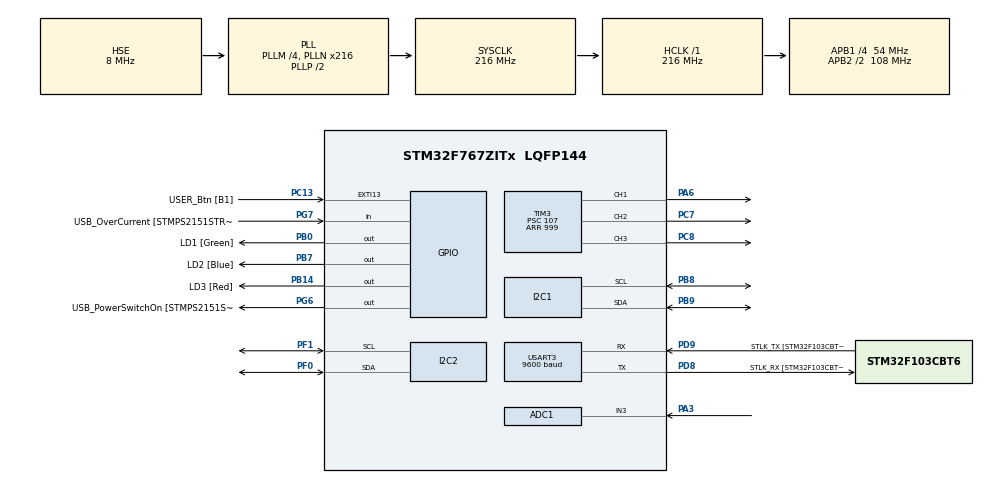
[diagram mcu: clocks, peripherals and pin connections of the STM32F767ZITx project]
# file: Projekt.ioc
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ADC1.Channel-0\#ChannelRegularConversion=ADC_CHANNEL_3
ADC1.ContinuousConvMode=DISABLE
ADC1.DMAContinuousRequests=DISABLE
ADC1.EOCSelection=ADC_EOC_SINGLE_CONV
ADC1.NbrOfConversion=1
ADC1.NbrOfConversionFlag=1
ADC1.Rank-0\#ChannelRegularConversion=1
ADC1.SamplingTime-0\#ChannelRegularConversion=ADC_SAMPLETIME_480CYCLES
ADC1.ScanConvMode=ADC_SCAN_DISABLE
ADC1.master=1
ARM.CMSIS.5.7.0.CMSISJjCORE=true
ARM.CMSIS.5.7.0.CMSISJjDSP=Library
I2C1.Timing=0x20404768
I2C2.Timing=0x20404768
Mcu.Family=STM32F7
Mcu.Name=STM32F767ZITx
Mcu.Package=LQFP144
NVIC.ADC_IRQn=true\:0\:0\:false\:false\:true\:true\:true
NVIC.EXTI15_10_IRQn=true\:0\:0\:false\:false\:true\:true\:true
NVIC.I2C1_ER_IRQn=true\:0\:0\:false\:false\:true\:true\:true
NVIC.I2C1_EV_IRQn=true\:0\:0\:false\:false\:true\:true\:true
NVIC.PriorityGroup=NVIC_PRIORITYGROUP_4
NVIC.TIM2_IRQn=true\:0\:0\:false\:false\:true\:true\:true
NVIC.TIM3_IRQn=true\:0\:0\:false\:false\:true\:true\:true
NVIC.USART3_IRQn=true\:0\:0\:false\:false\:true\:true\:true
PA1.GPIO_Label=RMII_REF_CLK [LAN8742A-CZ-TR_REFCLK0]
PA1.Signal=ETH_REF_CLK
PA10.GPIO_Label=USB_ID
PA10.Signal=USB_OTG_FS_ID
PA11.GPIO_Label=USB_DM
PA11.Signal=USB_OTG_FS_DM
PA12.GPIO_Label=USB_DP
PA12.Signal=USB_OTG_FS_DP
PA13.GPIO_Label=TMS
PA13.Mode=Serial_Wire
PA13.Signal=SYS_JTMS-SWDIO
PA14.GPIO_Label=TCK
PA14.Mode=Serial_Wire
PA14.Signal=SYS_JTCK-SWCLK
PA2.GPIO_Label=RMII_MDIO [LAN8742A-CZ-TR_MDIO]
PA2.Signal=ETH_MDIO
PA3.Signal=ADCx_IN3
PA6.Signal=S_TIM3_CH1
PA7.GPIO_Label=RMII_CRS_DV [LAN8742A-CZ-TR_CRS_DV]
PA7.Signal=ETH_CRS_DV
PA8.GPIO_Label=USB_SOF [TP1]
PA8.Signal=USB_OTG_FS_SOF
PA9.GPIO_Label=USB_VBUS
PA9.Signal=USB_OTG_FS_VBUS
PB0.GPIO_Label=LD1 [Green]
PB0.Signal=GPIO_Output
PB13.GPIO_Label=RMII_TXD1 [LAN8742A-CZ-TR_TXD1]
PB13.Signal=ETH_TXD1
PB14.GPIO_Label=LD3 [Red]
PB14.Signal=GPIO_Output
PB3.GPIO_Label=SWO
PB3.Signal=SYS_JTDO-SWO
PB7.GPIO_Label=LD2 [Blue]
PB7.Signal=GPIO_Output
PB8.Mode=I2C
PB8.Signal=I2C1_SCL
PB9.Mode=I2C
PB9.Signal=I2C1_SDA
PC1.GPIO_Label=RMII_MDC [LAN8742A-CZ-TR_MDC]
PC1.Signal=ETH_MDC
PC13.GPIO_Label=USER_Btn [B1]
PC13.Signal=GPXTI13
PC14/OSC32_IN.Mode=LSE-External-Oscillator
PC14/OSC32_IN.Signal=RCC_OSC32_IN
PC15/OSC32_OUT.Mode=LSE-External-Oscillator
PC15/OSC32_OUT.Signal=RCC_OSC32_OUT
PC4.GPIO_Label=RMII_RXD0 [LAN8742A-CZ-TR_RXD0]
PC4.Signal=ETH_RXD0
PC5.GPIO_Label=RMII_RXD1 [LAN8742A-CZ-TR_RXD1]
PC5.Signal=ETH_RXD1
PC7.Signal=S_TIM3_CH2
PC8.Signal=S_TIM3_CH3
PD8.GPIO_Label=STLK_RX [STM32F103CBT6_PA3]
PD8.Mode=Asynchronous
PD8.Signal=USART3_TX
PD9.GPIO_Label=STLK_TX [STM32F103CBT6_PA2]
PD9.Mode=Asynchronous
PD9.Signal=USART3_RX
PF0.Mode=I2C
PF0.Signal=I2C2_SDA
PF1.Mode=I2C
PF1.Signal=I2C2_SCL
PG11.GPIO_Label=RMII_TX_EN [LAN8742A-CZ-TR_TXEN]
PG11.Signal=ETH_TX_EN
PG13.GPIO_Label=RMII_TXD0 [LAN8742A-CZ-TR_TXD0]
PG13.Signal=ETH_TXD0
PG6.GPIO_Label=USB_PowerSwitchOn [STMPS2151STR_EN]
PG6.Signal=GPIO_Output
PG7.GPIO_Label=USB_OverCurrent [STMPS2151STR_FAULT]
PG7.Signal=GPIO_Input
PH0/OSC_IN.GPIO_Label=MCO [STM32F103CBT6_PA8]
PH0/OSC_IN.Mode=HSE-External-Clock-Source
PH0/OSC_IN.Signal=RCC_OSC_IN
PH1/OSC_OUT.Mode=HSE-External-Clock-Source
PH1/OSC_OUT.Signal=RCC_OSC_OUT
ProjectManager.HeapSize=0x200
ProjectManager.StackSize=0x400
ProjectManager.TargetToolchain=STM32CubeIDE
RCC.48MHZClocksFreq_Value=24000000
RCC.AHBFreq_Value=216000000
RCC.APB1CLKDivider=RCC_HCLK_DIV4
RCC.APB1Freq_Value=54000000
RCC.APB1TimFreq_Value=108000000
RCC.APB2CLKDivider=RCC_HCLK_DIV2
RCC.APB2Freq_Value=108000000
RCC.APB2TimFreq_Value=216000000
RCC.CortexFreq_Value=216000000
RCC.HCLKFreq_Value=216000000
RCC.HSE_VALUE=8000000
RCC.HSI_VALUE=16000000
RCC.PLLM=4
RCC.PLLMUL=RCC_PLL_MUL9
RCC.PLLN=216
RCC.PLLQ=4
RCC.PLLSourceVirtual=RCC_PLLSOURCE_HSE
RCC.PRESCALERUSB=RCC_USBCLKSOURCE_PLL_DIV1_5
RCC.SYSCLKFreq_VALUE=216000000
RCC.SYSCLKSource=RCC_SYSCLKSOURCE_PLLCLK
RCC.SYSCLKSourceVirtual=RCC_SYSCLKSOURCE_PLLCLK
RCC.USBFreq_Value=108000000
RCC.VCOOutputFreq_Value=432000000
SH.ADCx_IN3.0=ADC1_IN3,IN3
SH.S_TIM3_CH1.0=TIM3_CH1,PWM Generation1 CH1
SH.S_TIM3_CH2.0=TIM3_CH2,PWM Generation2 CH2
SH.S_TIM3_CH3.0=TIM3_CH3,PWM Generation3 CH3
TIM2.Period=129869
TIM2.Prescaler=107
TIM3.Channel-PWM\ Generation1\ CH1=TIM_CHANNEL_1
TIM3.Channel-PWM\ Generation2\ CH2=TIM_CHANNEL_2
TIM3.Channel-PWM\ Generation3\ CH3=TIM_CHANNEL_3
TIM3.Period=999
TIM3.Prescaler=107
TIM3.Pulse-PWM\ Generation1\ CH1=0
TIM3.Pulse-PWM\ Generation2\ CH2=0
TIM3.Pulse-PWM\ Generation3\ CH3=0
USART3.BaudRate=9600
USART3.VirtualMode-Asynchronous=VM_ASYNC
VP_ARM.CMSIS_VS_CMSISJjCORE_5.4.0_5.7.0.Mode=CMSISJjCORE
VP_ARM.CMSIS_VS_CMSISJjDSP_1.8.0_5.7.0.Mode=CMSISJjDSP
VP_TIM2_VS_ClockSourceINT.Mode=Internal
VP_TIM3_VS_ClockSourceINT.Mode=Internal
board=NUCLEO-F767ZI

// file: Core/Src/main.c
/* USER CODE BEGIN Header */
/**
  ******************************************************************************
  * @file           : main.c
  * @brief          : Main program body
  ******************************************************************************
  * @attention
  *
  * <h2><center>&copy; Copyright (c) 2021 STMicroelectronics.
  * All rights reserved.</center></h2>
  *
  * This software component is licensed by ST under BSD 3-Clause license,
  * the "License"; You may not use this file except in compliance with the
  * License. You may obtain a copy of the License at:
  *                        opensource.org/licenses/BSD-3-Clause
  *
  ******************************************************************************
  */
/* USER CODE END Header */
#include "main.h"
#include "adc.h"
#include "i2c.h"
#include "tim.h"
#include "usart.h"
#include "gpio.h"

/* USER CODE BEGIN Includes */
#include "stdio.h"
#include "string.h"
#include "bh1750.h"
#include "regulator.h"
#include "led.h"
#include "lcd.h"

/* USER CODE END Includes */

void SystemClock_Config(void);

/* USER CODE BEGIN 0 */

#define START 1
#define STOP 0

int akcja = 2;
int pulse =0;

float wartosc_zadana = 130.0f;

float duty = 0.0f;
BH1750_HandleTypeDef hbh1750_1 = {
.I2C = &hi2c1, .Address = BH1750_ADDRESS_L, .Timeout = 0xffff};
regulator_Handle_TypeDef reg_I = {
   .Ki = 50.0f,.Kd=0.0f,.Kp = 0.0f, .Ts = 0.0007f, .e_int = 0.0f,.e_der = 0.0f,.e_prev = 0.0f, .limitdown = 0.0f, .limitup=100.0f};
LED_HandleTypeDef led = {
  .R = 1.0f, .G = 0.0f, .B = 1.0f, .duty_R=0.0f, .duty_G=0.0f, .duty_B=0.0f};

float LightIntensity = -0.1;
int light = -1;
int wartzad = 0;
char komunikat[20];

float led_R;
float led_G;
float led_B;
int pulseR=0,pulseG=0,pulseB=0;

char on[2];
char kolor[12];
char errors[50] = "Zly wzor lub wartosc poza zakresem!";
char yr[4];
char wiadomosc[23];

int lcd_yr = 0;
int lcd_light = -1;

char lcd_yrmess[20];
char lcd_lightmess[20];
int lcd_flag = 0;

void HAL_UART_RxCpltCallback(UART_HandleTypeDef* huart)
{
	if(huart->Instance == USART3)
	{

		if(wiadomosc[0] == 'K' && wiadomosc[1] == ':' && wiadomosc[2] == 'R' && wiadomosc[6] == 'G' && wiadomosc[10] == 'B' && wiadomosc[14] == ',' && wiadomosc[15] == 'Y' && wiadomosc[16] == ':' && wiadomosc[20] == ',' && wiadomosc[21] == 'O')
		{

			if(wiadomosc[22] == 'N')
			{
			sscanf(wiadomosc,"K:R%dG%dB%d,Y:%d,ON",&pulseR,&pulseG,&pulseB,&wartzad);
			akcja = 1;
			if(pulseR >=0 && pulseR <=100)
			{
				led.R = (float)(pulseR/100.0f);

			}
			if(pulseG >=0 && pulseG <=100)
			{
				led.G = (float)(pulseG/100.0f);

			}
			if(pulseB >=0 && pulseB <=100)
			{
				led.B = (float)(pulseB/100.0f);

			}
			wartosc_zadana = (float)(wartzad*1.0f);

			lcd_yr = wartzad;

			}
			else if(wiadomosc[22] == 'F')
			{
				akcja = 0;

			}
			else
			{
				HAL_UART_Transmit(huart, (uint8_t*)errors, strlen(errors), 1000);
			}
		}

		HAL_UART_Receive_IT(&huart3, (uint8_t*)wiadomosc, 23);

	}
}

void HAL_TIM_PeriodElapsedCallback(TIM_HandleTypeDef *htim)
{
	if(htim->Instance == TIM2)
	{

		if(akcja == START)
		{
		LightIntensity = BH1750_ReadLux(&hbh1750_1);

		light = LightIntensity*100;

		lcd_light = LightIntensity*100;

		sprintf(komunikat,"%d.%d\r\n",light/100,light%100);

		//HAL_UART_Transmit(&huart3, komunikat, strlen(komunikat), 150);
		duty = Reg_SignalControl(&reg_I, wartosc_zadana, LightIntensity);
		ColorsGenerator(&led, duty);

		__HAL_TIM_SET_COMPARE(&htim3,TIM_CHANNEL_1,(uint32_t)((led.duty_R)*10));
		__HAL_TIM_SET_COMPARE(&htim3,TIM_CHANNEL_2,(uint32_t)((led.duty_G)*10));
		__HAL_TIM_SET_COMPARE(&htim3,TIM_CHANNEL_3,(uint32_t)((led.duty_B)*10));
		}
		else if(akcja == STOP)
		{
			led.duty_R = 0.0f;
			led.duty_G = 0.0f;
			led.duty_B = 0.0f;
			duty = 0.0f;

			__HAL_TIM_SET_COMPARE(&htim3,TIM_CHANNEL_1,(uint32_t)((led.duty_R)*10));
			__HAL_TIM_SET_COMPARE(&htim3,TIM_CHANNEL_2,(uint32_t)((led.duty_G)*10));
			__HAL_TIM_SET_COMPARE(&htim3,TIM_CHANNEL_3,(uint32_t)((led.duty_B)*10));

		}

	}

}

void HAL_GPIO_EXTI_Callback(uint16_t GPIO_Pin)
{
  if(GPIO_Pin == USER_Btn_Pin)
  {
	  HAL_GPIO_TogglePin(LD1_GPIO_Port, LD1_Pin);
	  sprintf(lcd_lightmess,"Y=%d.%d[lux]",lcd_light/100,lcd_light%100);
	  sprintf(lcd_yrmess,"Yref=%d[lux]",lcd_yr);
	  lcd_clear();
	  lcd_put_cur(0,0);
	  lcd_send_string(lcd_yrmess);
	  lcd_put_cur(1,0);
	  lcd_send_string(lcd_lightmess);
  }
}

/* USER CODE END 0 */

int main(void)
{

  /* MCU Configuration--------------------------------------------------------*/

  /* Reset of all peripherals, Initializes the Flash interface and the Systick. */
  HAL_Init();

  /* Configure the system clock */
  SystemClock_Config();

  /* Initialize all configured peripherals */
  MX_GPIO_Init();
  MX_USART3_UART_Init();
  MX_ADC1_Init();
  MX_TIM3_Init();
  MX_TIM2_Init();
  MX_I2C1_Init();
  MX_I2C2_Init();
  /* USER CODE BEGIN 2 */

   // Inicjalizacja czujnika cyfrowego
   uint8_t TrybPracy = BH1750_CONTINOUS_H_RES_MODE;
   BH1750_Init(&hbh1750_1, TrybPracy);

   // Wystartowanie zegarow
   HAL_TIM_PWM_Start(&htim3,TIM_CHANNEL_1);
   HAL_TIM_PWM_Start(&htim3,TIM_CHANNEL_2);
   HAL_TIM_PWM_Start(&htim3,TIM_CHANNEL_3);
   HAL_TIM_Base_Start_IT(&htim2);

   // Wiadomosc poczatkowa
   char witaj[120] = "Forma wiadomosci: K:RxxxGxxxBxxx,Y:xxx,ON lub OF\r\n";
   //HAL_UART_Transmit(&huart3,witaj,strlen(witaj),1000);
   HAL_UART_Receive_IT(&huart3, (uint8_t*)wiadomosc, 23);

   //Inicjalizacja LCD
   lcd_init();
   lcd_send_string("Witamy");
   lcd_put_cur(1, 0);
   lcd_send_string("LED RGB");

  /* USER CODE END 2 */

  /* Infinite loop */
  while (1)
  {

  }
}

void SystemClock_Config(void)
{
  RCC_OscInitTypeDef RCC_OscInitStruct = {0};
  RCC_ClkInitTypeDef RCC_ClkInitStruct = {0};
  RCC_PeriphCLKInitTypeDef PeriphClkInitStruct = {0};

  /** Configure LSE Drive Capability
  */
  HAL_PWR_EnableBkUpAccess();
  /** Configure the main internal regulator output voltage
  */
  __HAL_RCC_PWR_CLK_ENABLE();
  __HAL_PWR_VOLTAGESCALING_CONFIG(PWR_REGULATOR_VOLTAGE_SCALE1);
  /** Initializes the RCC Oscillators according to the specified parameters
  * in the RCC_OscInitTypeDef structure.
  */
  RCC_OscInitStruct.OscillatorType = RCC_OSCILLATORTYPE_HSE;
  RCC_OscInitStruct.HSEState = RCC_HSE_BYPASS;
  RCC_OscInitStruct.PLL.PLLState = RCC_PLL_ON;
  RCC_OscInitStruct.PLL.PLLSource = RCC_PLLSOURCE_HSE;
  RCC_OscInitStruct.PLL.PLLM = 4;
  RCC_OscInitStruct.PLL.PLLN = 216;
  RCC_OscInitStruct.PLL.PLLP = RCC_PLLP_DIV2;
  RCC_OscInitStruct.PLL.PLLQ = 4;
  RCC_OscInitStruct.PLL.PLLR = 2;
  if (HAL_RCC_OscConfig(&RCC_OscInitStruct) != HAL_OK)
  {
    Error_Handler();
  }
  /** Activate the Over-Drive mode
  */
  if (HAL_PWREx_EnableOverDrive() != HAL_OK)
  {
    Error_Handler();
  }
  /** Initializes the CPU, AHB and APB buses clocks
  */
  RCC_ClkInitStruct.ClockType = RCC_CLOCKTYPE_HCLK|RCC_CLOCKTYPE_SYSCLK
                              |RCC_CLOCKTYPE_PCLK1|RCC_CLOCKTYPE_PCLK2;
  RCC_ClkInitStruct.SYSCLKSource = RCC_SYSCLKSOURCE_PLLCLK;
  RCC_ClkInitStruct.AHBCLKDivider = RCC_SYSCLK_DIV1;
  RCC_ClkInitStruct.APB1CLKDivider = RCC_HCLK_DIV4;
  RCC_ClkInitStruct.APB2CLKDivider = RCC_HCLK_DIV2;

  if (HAL_RCC_ClockConfig(&RCC_ClkInitStruct, FLASH_LATENCY_7) != HAL_OK)
  {
    Error_Handler();
  }
  PeriphClkInitStruct.PeriphClockSelection = RCC_PERIPHCLK_USART3|RCC_PERIPHCLK_I2C1
                              |RCC_PERIPHCLK_I2C2;
  PeriphClkInitStruct.Usart3ClockSelection = RCC_USART3CLKSOURCE_PCLK1;
  PeriphClkInitStruct.I2c1ClockSelection = RCC_I2C1CLKSOURCE_PCLK1;
  PeriphClkInitStruct.I2c2ClockSelection = RCC_I2C2CLKSOURCE_PCLK1;
  if (HAL_RCCEx_PeriphCLKConfig(&PeriphClkInitStruct) != HAL_OK)
  {
    Error_Handler();
  }
}

void Error_Handler(void)
{
  __disable_irq();
  while (1)
  {
  }
}

/************************ (C) COPYRIGHT STMicroelectronics *****END OF FILE****/
